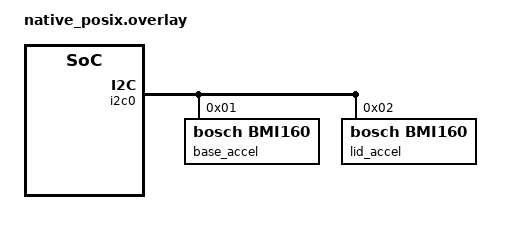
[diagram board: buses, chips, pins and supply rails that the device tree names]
/*
 * Copyright (c) 2023 Intel Corporation
 *
 * SPDX-License-Identifier: Apache-2.0
 */

/ {
	virtual-sensors {
		hinge-angle {
			compatible = "sensor-virtual";
			friendly-name = "Hinge Angle";
			reporters = <&lid_accel 10 0>, <&base_accel 5 0>;
			reporter-names = "lid-accel", "base-accel";
			status = "okay";
		};

		motion-detect {
			compatible = "sensor-virtual";
			friendly-name = "Motion Detect";
			reporters = <&base_accel 20 0>;
			status = "okay";
		};
	};
};

&i2c0 {
	base_accel: bmi160@1 {
		compatible = "bosch,bmi160";
		reg = <0x1>;
		friendly-name = "Base Accelerometer";
		#reporter-cells = <2>;
	};

	lid_accel: bmi160@2 {
		compatible = "bosch,bmi160";
		reg = <0x2>;
		friendly-name = "Lid Accelerometer";
		#reporter-cells = <2>;
	};
};
